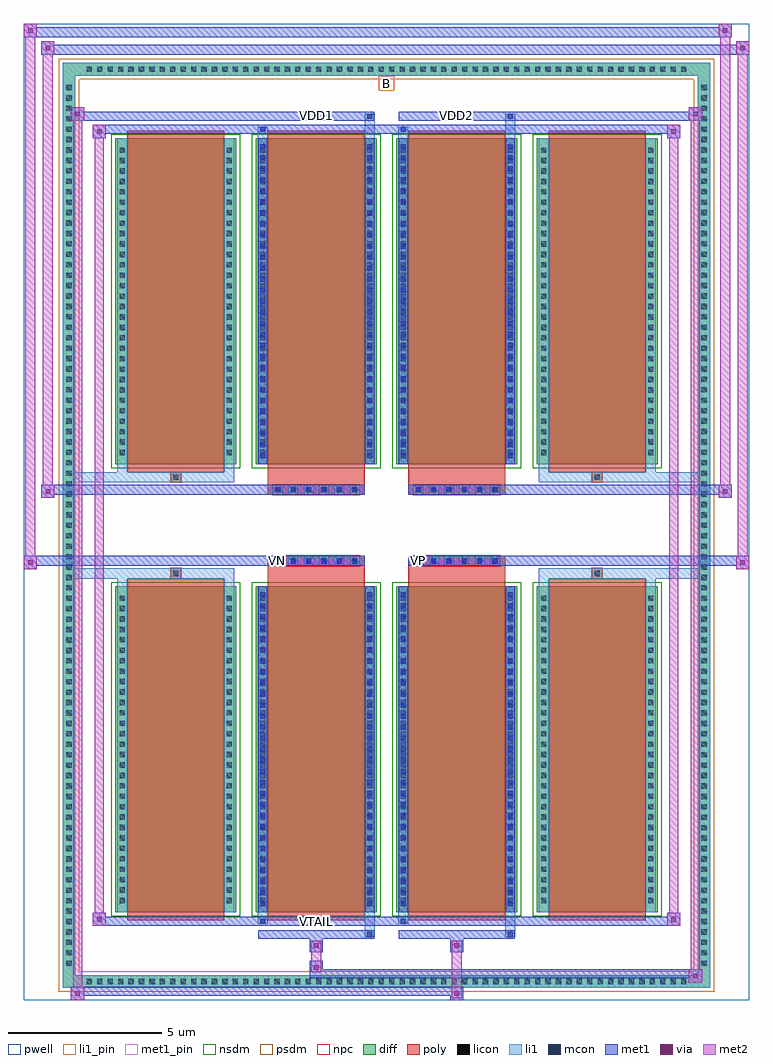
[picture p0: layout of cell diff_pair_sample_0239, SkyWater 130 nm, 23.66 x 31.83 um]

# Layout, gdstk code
import gdstk
lib = gdstk.Library(unit=1e-6, precision=5e-09)
def R(c, l, rs):  # rectangles x0, y0, x1, y1
    for r in rs: c.add(gdstk.rectangle(r[:2], r[2:], *l))
def A(c, l, x, y, w, h, nx, ny, dx, dy):  # array of equal rectangles
    R(c, l, [(x+i*dx, y+j*dy, x+i*dx+w, y+j*dy+h) for i in range(nx) for j in range(ny)])
def P(c, l, *ps):  # polygons
    for p in ps: c.add(gdstk.Polygon(p, *l))
pwell = (64, 44)
diff = (65, 20)
poly = (66, 20)
licon = (66, 44)
li1_pin = (67, 16)
li1 = (67, 20)
mcon = (67, 44)
met1_pin = (68, 16)
met1 = (68, 20)
via = (68, 44)
met2 = (69, 20)
nsdm = (93, 44)
psdm = (94, 20)
npc = (95, 20)

diff_pair_sample_0239 = lib.new_cell('diff_pair_sample_0239')
R(diff_pair_sample_0239, pwell, [(-11.83,-15.48,11.83,16.35), (-9.15,-13.67,-0.01,-0.795), (0.01,-13.67,9.15,-0.795), (-9.15,0.795,-0.01,13.67), (0.01,0.795,9.15,13.67)])
A(diff_pair_sample_0239, diff, -9.895, -15.08, 0.41, 0.41, 58, 2, 0.34, 29.75)
A(diff_pair_sample_0239, diff, -10.56, -14.485, 0.41, 0.41, 1, 85, 0, 0.34)
A(diff_pair_sample_0239, diff, 10.15, -14.485, 0.41, 0.41, 1, 85, 0, 0.34)
A(diff_pair_sample_0239, diff, -8.84, -12.625, 3.94, 10.64, 4, 2, 4.58, 14.61)
R(diff_pair_sample_0239, diff, [(-9.895,-15.08,9.895,-14.67), (-10.56,-14.485,-10.15,14.485), (10.15,-14.485,10.56,14.485), (-9.895,14.67,9.895,15.08)])
P(diff_pair_sample_0239, diff, [(10.56,15.08),(-10.56,15.08),(-10.56,-14.67),(-10.15,-14.67),(-10.15,14.67),(10.15,14.67),(10.15,-14.67),(-10.15,-14.67),(-10.56,-14.67),(-10.56,-15.08),(10.56,-15.08)])
A(diff_pair_sample_0239, poly, -8.45, -12.875, 3.16, 11.14, 4, 2, 4.58, 14.61)
A(diff_pair_sample_0239, poly, -3.705, -1.325, 0.33, 0.33, 6, 2, 0.5, 2.32)
A(diff_pair_sample_0239, poly, 0.875, -1.325, 0.33, 0.33, 6, 2, 0.5, 2.32)
R(diff_pair_sample_0239, poly, [(-7.035,-1.735,-6.705,-1.405), (-7.035,-1.735,-6.705,-1.405), (-3.87,-1.735,-0.71,-1.325), (0.71,-1.735,3.87,-1.325), (6.705,-1.735,7.035,-1.405), (6.705,-1.735,7.035,-1.405), (-3.87,-1.325,-0.71,-0.995), (0.71,-1.325,3.87,-0.995), (-3.87,0.995,-0.71,1.325), (0.71,0.995,3.87,1.325), (-3.87,1.325,-0.71,1.735), (0.71,1.325,3.87,1.735), (-7.035,1.405,-6.705,1.735), (-7.035,1.405,-6.705,1.735), (6.705,1.405,7.035,1.735), (6.705,1.405,7.035,1.735)])
A(diff_pair_sample_0239, licon, -9.775, -14.96, 0.17, 0.17, 58, 2, 0.34, 29.75)
A(diff_pair_sample_0239, licon, -10.44, -14.365, 0.17, 0.17, 1, 85, 0, 0.34)
A(diff_pair_sample_0239, licon, 10.27, -14.365, 0.17, 0.17, 1, 85, 0, 0.34)
A(diff_pair_sample_0239, licon, -8.7, -12.32, 0.17, 0.17, 1, 30, 0, 0.34)
A(diff_pair_sample_0239, licon, -5.21, -12.32, 0.17, 0.17, 1, 30, 0, 0.34)
A(diff_pair_sample_0239, licon, -4.12, -12.32, 0.17, 0.17, 1, 30, 0, 0.34)
A(diff_pair_sample_0239, licon, -0.63, -12.32, 0.17, 0.17, 1, 30, 0, 0.34)
A(diff_pair_sample_0239, licon, 0.46, -12.32, 0.17, 0.17, 1, 30, 0, 0.34)
A(diff_pair_sample_0239, licon, 3.95, -12.32, 0.17, 0.17, 1, 30, 0, 0.34)
A(diff_pair_sample_0239, licon, 5.04, -12.32, 0.17, 0.17, 1, 30, 0, 0.34)
A(diff_pair_sample_0239, licon, 8.53, -12.32, 0.17, 0.17, 1, 30, 0, 0.34)
A(diff_pair_sample_0239, licon, -3.625, -1.245, 0.17, 0.17, 6, 2, 0.5, 2.32)
A(diff_pair_sample_0239, licon, 0.955, -1.245, 0.17, 0.17, 6, 2, 0.5, 2.32)
A(diff_pair_sample_0239, licon, -8.7, 2.29, 0.17, 0.17, 1, 30, 0, 0.34)
A(diff_pair_sample_0239, licon, -5.21, 2.29, 0.17, 0.17, 1, 30, 0, 0.34)
A(diff_pair_sample_0239, licon, -4.12, 2.29, 0.17, 0.17, 1, 30, 0, 0.34)
A(diff_pair_sample_0239, licon, -0.63, 2.29, 0.17, 0.17, 1, 30, 0, 0.34)
A(diff_pair_sample_0239, licon, 0.46, 2.29, 0.17, 0.17, 1, 30, 0, 0.34)
A(diff_pair_sample_0239, licon, 3.95, 2.29, 0.17, 0.17, 1, 30, 0, 0.34)
A(diff_pair_sample_0239, licon, 5.04, 2.29, 0.17, 0.17, 1, 30, 0, 0.34)
A(diff_pair_sample_0239, licon, 8.53, 2.29, 0.17, 0.17, 1, 30, 0, 0.34)
R(diff_pair_sample_0239, licon, [(-6.955,-1.655,-6.785,-1.485), (6.785,-1.655,6.955,-1.485), (-6.955,1.485,-6.785,1.655), (6.785,1.485,6.955,1.655)])
R(diff_pair_sample_0239, li1_pin, [(-0.25,14.17,0.25,14.67)])
A(diff_pair_sample_0239, li1, -9.855, -15.04, 0.33, 0.33, 58, 2, 0.34, 29.75)
A(diff_pair_sample_0239, li1, -10.52, -14.445, 0.33, 0.33, 1, 85, 0, 0.34)
A(diff_pair_sample_0239, li1, 10.19, -14.445, 0.33, 0.33, 1, 85, 0, 0.34)
A(diff_pair_sample_0239, li1, -4.12, -12.43, 0.17, 0.17, 1, 29, 0, 0.36)
A(diff_pair_sample_0239, li1, -0.63, -12.43, 0.17, 0.17, 1, 29, 0, 0.36)
A(diff_pair_sample_0239, li1, 0.46, -12.43, 0.17, 0.17, 1, 29, 0, 0.36)
A(diff_pair_sample_0239, li1, 3.95, -12.43, 0.17, 0.17, 1, 29, 0, 0.36)
A(diff_pair_sample_0239, li1, -8.78, -12.4, 0.33, 0.33, 1, 30, 0, 0.34)
A(diff_pair_sample_0239, li1, -5.29, -12.4, 0.33, 0.33, 1, 30, 0, 0.34)
A(diff_pair_sample_0239, li1, -4.2, -12.4, 0.33, 0.33, 1, 30, 0, 0.34)
A(diff_pair_sample_0239, li1, -0.71, -12.4, 0.33, 0.33, 1, 30, 0, 0.34)
A(diff_pair_sample_0239, li1, 0.38, -12.4, 0.33, 0.33, 1, 30, 0, 0.34)
A(diff_pair_sample_0239, li1, 3.87, -12.4, 0.33, 0.33, 1, 30, 0, 0.34)
A(diff_pair_sample_0239, li1, 4.96, -12.4, 0.33, 0.33, 1, 30, 0, 0.34)
A(diff_pair_sample_0239, li1, 8.45, -12.4, 0.33, 0.33, 1, 30, 0, 0.34)
A(diff_pair_sample_0239, li1, -3.705, -1.325, 0.33, 0.33, 6, 2, 0.5, 2.32)
A(diff_pair_sample_0239, li1, 0.875, -1.325, 0.33, 0.33, 6, 2, 0.5, 2.32)
A(diff_pair_sample_0239, li1, -4.12, 2.18, 0.17, 0.17, 1, 29, 0, 0.36)
A(diff_pair_sample_0239, li1, -0.63, 2.18, 0.17, 0.17, 1, 29, 0, 0.36)
A(diff_pair_sample_0239, li1, 0.46, 2.18, 0.17, 0.17, 1, 29, 0, 0.36)
A(diff_pair_sample_0239, li1, 3.95, 2.18, 0.17, 0.17, 1, 29, 0, 0.36)
A(diff_pair_sample_0239, li1, -8.78, 2.21, 0.33, 0.33, 1, 30, 0, 0.34)
A(diff_pair_sample_0239, li1, -5.29, 2.21, 0.33, 0.33, 1, 30, 0, 0.34)
A(diff_pair_sample_0239, li1, -4.2, 2.21, 0.33, 0.33, 1, 30, 0, 0.34)
A(diff_pair_sample_0239, li1, -0.71, 2.21, 0.33, 0.33, 1, 30, 0, 0.34)
A(diff_pair_sample_0239, li1, 0.38, 2.21, 0.33, 0.33, 1, 30, 0, 0.34)
A(diff_pair_sample_0239, li1, 3.87, 2.21, 0.33, 0.33, 1, 30, 0, 0.34)
A(diff_pair_sample_0239, li1, 4.96, 2.21, 0.33, 0.33, 1, 30, 0, 0.34)
A(diff_pair_sample_0239, li1, 8.45, 2.21, 0.33, 0.33, 1, 30, 0, 0.34)
R(diff_pair_sample_0239, li1, [(-10.56,-15.08,-10.15,-14.67), (-10.56,-15.08,-10.15,-14.67), (-10.15,-15.08,10.15,-14.67), (10.15,-15.08,10.56,-14.67), (10.15,-15.08,10.56,-14.67), (-10.56,-14.67,-10.15,14.67), (10.15,-14.67,10.56,14.67), (-0.71,-13.43,-0.38,-12.625), (-0.63,-13.43,-0.46,-13.26), (3.87,-13.43,4.2,-12.625), (3.95,-13.43,4.12,-13.26), (-4.2,-13,-3.87,-12.625), (-4.12,-13,-3.95,-12.83), (0.38,-13,0.71,-12.625), (0.46,-13,0.63,-12.83), (-8.78,-12.625,-8.45,-1.985), (-5.29,-12.625,-4.96,-1.985), (-4.2,-12.625,-3.87,-1.985), (-0.71,-12.625,-0.38,-1.985), (0.38,-12.625,0.71,-1.985), (3.87,-12.625,4.2,-1.985), (4.96,-12.625,5.29,-1.985), (8.45,-12.625,8.78,-1.985), (-4.12,-12.43,-3.95,-2.18), (-0.63,-12.43,-0.46,-2.18), (0.46,-12.43,0.63,-2.18), (3.95,-12.43,4.12,-2.18), (-8.78,-1.985,-8.45,-1.405), (-5.29,-1.985,-4.96,-1.405), (4.96,-1.985,5.29,-1.405), (8.45,-1.985,8.78,-1.405), (-10.56,-1.735,-7.035,-1.405), (-8.78,-1.735,-7.035,-1.405), (-7.035,-1.735,-6.705,-1.405), (-6.705,-1.735,-4.96,-1.405), (4.96,-1.735,6.705,-1.405), (6.705,-1.735,7.035,-1.405), (6.705,-1.735,10.56,-1.405), (7.035,-1.735,8.78,-1.405), (-10.56,1.405,-7.035,1.735), (-8.78,1.405,-7.035,1.735), (-8.78,1.405,-8.45,1.985), (-7.035,1.405,-6.705,1.735), (-6.705,1.405,-4.96,1.735), (-5.29,1.405,-4.96,1.985), (4.96,1.405,6.705,1.735), (4.96,1.405,5.29,1.985), (6.705,1.405,7.035,1.735), (6.705,1.405,10.56,1.735), (7.035,1.405,8.78,1.735), (8.45,1.405,8.78,1.985), (-8.78,1.985,-8.45,12.625), (-5.29,1.985,-4.96,12.625), (-4.2,1.985,-3.87,12.625), (-0.71,1.985,-0.38,12.625), (0.38,1.985,0.71,12.625), (3.87,1.985,4.2,12.625), (4.96,1.985,5.29,12.625), (8.45,1.985,8.78,12.625), (-4.12,2.18,-3.95,12.43), (-0.63,2.18,-0.46,12.43), (0.46,2.18,0.63,12.43), (3.95,2.18,4.12,12.43), (-4.2,12.625,-3.87,13), (-0.71,12.625,-0.38,13.43), (0.38,12.625,0.71,13), (3.87,12.625,4.2,13.43), (-4.12,12.83,-3.95,13), (0.46,12.83,0.63,13), (-0.63,13.26,-0.46,13.43), (3.95,13.26,4.12,13.43), (-10.56,14.67,-10.15,15.08), (-10.56,14.67,-10.15,15.08), (-10.15,14.67,10.15,15.08), (10.15,14.67,10.56,15.08), (10.15,14.67,10.56,15.08)])
A(diff_pair_sample_0239, mcon, -4.12, -12.43, 0.17, 0.17, 1, 29, 0, 0.36)
A(diff_pair_sample_0239, mcon, -0.63, -12.43, 0.17, 0.17, 1, 29, 0, 0.36)
A(diff_pair_sample_0239, mcon, 0.46, -12.43, 0.17, 0.17, 1, 29, 0, 0.36)
A(diff_pair_sample_0239, mcon, 3.95, -12.43, 0.17, 0.17, 1, 29, 0, 0.36)
A(diff_pair_sample_0239, mcon, -3.625, -1.245, 0.17, 0.17, 6, 2, 0.5, 2.32)
A(diff_pair_sample_0239, mcon, 0.955, -1.245, 0.17, 0.17, 6, 2, 0.5, 2.32)
A(diff_pair_sample_0239, mcon, -4.12, 2.18, 0.17, 0.17, 1, 29, 0, 0.36)
A(diff_pair_sample_0239, mcon, -0.63, 2.18, 0.17, 0.17, 1, 29, 0, 0.36)
A(diff_pair_sample_0239, mcon, 0.46, 2.18, 0.17, 0.17, 1, 29, 0, 0.36)
A(diff_pair_sample_0239, mcon, 3.95, 2.18, 0.17, 0.17, 1, 29, 0, 0.36)
R(diff_pair_sample_0239, mcon, [(-0.63,-13.43,-0.46,-13.26), (3.95,-13.43,4.12,-13.26), (-4.12,-13,-3.95,-12.83), (0.46,-13,0.63,-12.83), (-4.12,12.83,-3.95,13), (0.46,12.83,0.63,13), (-0.63,13.26,-0.46,13.43), (3.95,13.26,4.12,13.43)])
R(diff_pair_sample_0239, met1_pin, [(-2.425,-13.04,-2.155,-12.77), (-3.675,-1.285,-3.405,-1.015), (0.905,-1.285,1.175,-1.015), (-2.425,13.22,-2.155,13.49), (2.155,13.22,2.425,13.49)])
A(diff_pair_sample_0239, met1, -4.18, -12.49, 0.29, 0.29, 1, 29, 0, 0.36)
A(diff_pair_sample_0239, met1, -0.69, -12.49, 0.29, 0.29, 1, 29, 0, 0.36)
A(diff_pair_sample_0239, met1, 0.4, -12.49, 0.29, 0.29, 1, 29, 0, 0.36)
A(diff_pair_sample_0239, met1, 3.89, -12.49, 0.29, 0.29, 1, 29, 0, 0.36)
A(diff_pair_sample_0239, met1, -3.685, -1.305, 0.29, 0.29, 6, 2, 0.5, 2.32)
A(diff_pair_sample_0239, met1, 0.895, -1.305, 0.29, 0.29, 6, 2, 0.5, 2.32)
A(diff_pair_sample_0239, met1, -4.18, 2.12, 0.29, 0.29, 1, 29, 0, 0.36)
A(diff_pair_sample_0239, met1, -0.69, 2.12, 0.29, 0.29, 1, 29, 0, 0.36)
A(diff_pair_sample_0239, met1, 0.4, 2.12, 0.29, 0.29, 1, 29, 0, 0.36)
A(diff_pair_sample_0239, met1, 3.89, 2.12, 0.29, 0.29, 1, 29, 0, 0.36)
R(diff_pair_sample_0239, met1, [(-10.29,-15.48,-9.86,-15.05), (2.075,-15.48,2.505,-15.05), (-10.29,-15.34,2.505,-15.05), (9.86,-14.91,10.29,-14.48), (-2.505,-14.77,10.29,-14.48), (-2.505,-14.63,-2.075,-14.2), (-2.505,-13.92,-2.075,-13.49), (2.075,-13.92,2.505,-13.49), (-4.18,-13.49,-0.4,-13.2), (-0.69,-13.49,-0.4,-13.2), (0.4,-13.49,4.18,-13.2), (3.89,-13.49,4.18,-13.2), (-9.58,-13.06,-9.15,-12.63), (-9.58,-13.06,-4.18,-12.77), (-4.18,-13.06,-3.89,-12.77), (-4.18,-13.06,-0.4,-12.77), (-0.4,-13.06,0.4,-12.77), (0.4,-13.06,0.69,-12.77), (0.4,-13.06,4.18,-12.77), (4.18,-13.06,9.58,-12.77), (9.15,-13.06,9.58,-12.63), (-4.18,-12.625,-3.89,-1.985), (-0.69,-12.625,-0.4,-1.985), (0.4,-12.625,0.69,-1.985), (3.89,-12.625,4.18,-1.985), (-11.83,-1.425,-11.4,-0.995), (11.4,-1.425,11.83,-0.995), (-11.83,-1.325,-0.71,-0.995), (-3.87,-1.325,-0.71,-0.995), (0.71,-1.325,3.87,-0.995), (0.71,-1.325,11.83,-0.995), (-11.26,0.895,-10.83,1.325), (10.83,0.895,11.26,1.325), (-11.26,0.995,-3.87,1.325), (-3.87,0.995,-0.71,1.325), (0.71,0.995,3.87,1.325), (3.87,0.995,11.26,1.325), (-4.18,1.985,-3.89,12.625), (-0.69,1.985,-0.4,12.625), (0.4,1.985,0.69,12.625), (3.89,1.985,4.18,12.625), (-9.58,12.63,-9.15,13.06), (9.15,12.63,9.58,13.06), (-9.58,12.77,-4.18,13.06), (-4.18,12.77,-3.89,13.06), (-4.18,12.77,-0.4,13.06), (-0.4,12.77,0.4,13.06), (0.4,12.77,0.69,13.06), (0.4,12.77,4.18,13.06), (4.18,12.77,9.58,13.06), (-10.29,13.2,-9.86,13.63), (-10.29,13.2,-4.18,13.49), (-4.18,13.2,-0.4,13.49), (-0.69,13.2,-0.4,13.49), (0.4,13.2,4.18,13.49), (3.89,13.2,4.18,13.49), (4.18,13.2,10.29,13.49), (9.86,13.2,10.29,13.63), (-11.26,15.35,-10.83,15.78), (-11.26,15.35,-9.15,15.68), (-9.15,15.35,9.15,15.68), (9.15,15.35,11.83,15.68), (11.4,15.35,11.83,15.78), (-11.83,15.92,-11.4,16.35), (-11.83,15.92,-9.15,16.25), (-9.15,15.92,9.15,16.25), (9.15,15.92,11.26,16.25), (10.83,15.92,11.26,16.35)])
R(diff_pair_sample_0239, via, [(-10.15,-15.34,-10,-15.19), (2.215,-15.34,2.365,-15.19), (10,-14.77,10.15,-14.62), (-2.365,-14.49,-2.215,-14.34), (-2.365,-13.78,-2.215,-13.63), (2.215,-13.78,2.365,-13.63), (-9.44,-12.92,-9.29,-12.77), (9.29,-12.92,9.44,-12.77), (-11.69,-1.285,-11.54,-1.135), (11.54,-1.285,11.69,-1.135), (-11.12,1.035,-10.97,1.185), (10.97,1.035,11.12,1.185), (-9.44,12.77,-9.29,12.92), (9.29,12.77,9.44,12.92), (-10.15,13.34,-10,13.49), (10,13.34,10.15,13.49), (-11.12,15.49,-10.97,15.64), (11.54,15.49,11.69,15.64), (-11.69,16.06,-11.54,16.21), (10.97,16.06,11.12,16.21)])
R(diff_pair_sample_0239, met2, [(-10.29,-15.48,-9.86,-15.05), (-10.22,-15.48,-9.93,13.63), (-9.93,-15.48,-9.86,-15.05), (-10.24,-15.43,-9.91,-15.1), (2.125,-15.43,2.455,-15.1), (2.125,-15.1,2.455,-13.87), (9.86,-14.91,10.29,-14.48), (9.93,-14.91,10.22,13.63), (10.22,-14.91,10.29,-14.48), (9.91,-14.86,10.24,-14.53), (-2.455,-14.58,-2.125,-14.25), (-2.455,-14.25,-2.125,-13.87), (-2.455,-13.87,-2.125,-13.54), (2.125,-13.87,2.455,-13.54), (-9.58,-13.06,-9.15,-12.63), (-9.51,-13.06,-9.22,13.06), (-9.22,-13.06,-9.15,-12.63), (9.15,-13.06,9.58,-12.63), (9.22,-13.06,9.51,13.06), (9.51,-13.06,9.58,-12.63), (-9.53,-13.01,-9.2,-12.68), (9.2,-13.01,9.53,-12.68), (-11.83,-1.425,-11.4,-0.995), (-11.78,-1.425,-11.45,16.35), (-11.45,-1.425,-11.4,-0.995), (11.4,-1.425,11.83,-0.995), (11.45,-1.425,11.78,15.78), (11.78,-1.425,11.83,-0.995), (-11.78,-1.375,-11.45,-1.045), (11.45,-1.375,11.78,-1.045), (-11.26,0.895,-10.83,1.325), (-11.21,0.895,-10.88,15.78), (-10.88,0.895,-10.83,1.325), (10.83,0.895,11.26,1.325), (10.88,0.895,11.21,16.35), (11.21,0.895,11.26,1.325), (-11.21,0.945,-10.88,1.275), (10.88,0.945,11.21,1.275), (-9.58,12.63,-9.15,13.06), (-9.22,12.63,-9.15,13.06), (9.15,12.63,9.58,13.06), (9.51,12.63,9.58,13.06), (-9.53,12.68,-9.2,13.01), (9.2,12.68,9.53,13.01), (-10.29,13.2,-9.86,13.63), (-9.93,13.2,-9.86,13.63), (9.86,13.2,10.29,13.63), (10.22,13.2,10.29,13.63), (-10.24,13.25,-9.91,13.58), (9.91,13.25,10.24,13.58), (-11.26,15.35,-10.83,15.78), (-10.88,15.35,-10.83,15.78), (11.4,15.35,11.83,15.78), (11.78,15.35,11.83,15.78), (-11.21,15.4,-10.88,15.73), (11.45,15.4,11.78,15.73), (-11.83,15.92,-11.4,16.35), (-11.45,15.92,-11.4,16.35), (10.83,15.92,11.26,16.35), (11.21,15.92,11.26,16.35), (-11.78,15.97,-11.45,16.3), (10.88,15.97,11.21,16.3)])
A(diff_pair_sample_0239, nsdm, -8.97, -12.755, 4.2, 10.9, 4, 2, 4.58, 14.61)
P(diff_pair_sample_0239, psdm, [(10.69,15.21),(-10.69,15.21),(-10.69,-14.54),(-10.02,-14.54),(-10.02,14.54),(10.02,14.54),(10.02,-14.54),(-10.02,-14.54),(-10.69,-14.54),(-10.69,-15.21),(10.69,-15.21)])
A(diff_pair_sample_0239, npc, -3.725, -1.345, 0.37, 0.37, 6, 2, 0.5, 2.32)
A(diff_pair_sample_0239, npc, 0.855, -1.345, 0.37, 0.37, 6, 2, 0.5, 2.32)
R(diff_pair_sample_0239, npc, [(-7.055,-1.755,-6.685,-1.385), (6.685,-1.755,7.055,-1.385), (-3.725,-1.345,-2.855,-0.975), (-3.725,-1.345,-2.855,-0.975), (-3.225,-1.345,-2.355,-0.975), (-3.225,-1.345,-2.355,-0.975), (-2.725,-1.345,-1.855,-0.975), (-2.725,-1.345,-1.855,-0.975), (-2.225,-1.345,-1.355,-0.975), (-2.225,-1.345,-1.355,-0.975), (-1.725,-1.345,-0.855,-0.975), (-1.725,-1.345,-0.855,-0.975), (0.855,-1.345,1.725,-0.975), (0.855,-1.345,1.725,-0.975), (1.355,-1.345,2.225,-0.975), (1.355,-1.345,2.225,-0.975), (1.855,-1.345,2.725,-0.975), (1.855,-1.345,2.725,-0.975), (2.355,-1.345,3.225,-0.975), (2.355,-1.345,3.225,-0.975), (2.855,-1.345,3.725,-0.975), (2.855,-1.345,3.725,-0.975), (-3.725,0.975,-2.855,1.345), (-3.725,0.975,-2.855,1.345), (-3.225,0.975,-2.355,1.345), (-3.225,0.975,-2.355,1.345), (-2.725,0.975,-1.855,1.345), (-2.725,0.975,-1.855,1.345), (-2.225,0.975,-1.355,1.345), (-2.225,0.975,-1.355,1.345), (-1.725,0.975,-0.855,1.345), (-1.725,0.975,-0.855,1.345), (0.855,0.975,1.725,1.345), (0.855,0.975,1.725,1.345), (1.355,0.975,2.225,1.345), (1.355,0.975,2.225,1.345), (1.855,0.975,2.725,1.345), (1.855,0.975,2.725,1.345), (2.355,0.975,3.225,1.345), (2.355,0.975,3.225,1.345), (2.855,0.975,3.725,1.345), (2.855,0.975,3.725,1.345), (-7.055,1.385,-6.685,1.755), (6.685,1.385,7.055,1.755)])
diff_pair_sample_0239.add(gdstk.Label('VTAIL', (-2.29,-12.905), layer=68, texttype=5))
diff_pair_sample_0239.add(gdstk.Label('VN', (-3.54,-1.15), layer=68, texttype=5))
diff_pair_sample_0239.add(gdstk.Label('VP', (1.04,-1.15), layer=68, texttype=5))
diff_pair_sample_0239.add(gdstk.Label('B', (0,14.42), layer=67, texttype=5))
diff_pair_sample_0239.add(gdstk.Label('VDD2', (2.29,13.355), layer=68, texttype=5))
diff_pair_sample_0239.add(gdstk.Label('VDD1', (-2.29,13.355), layer=68, texttype=5))

lib.write_gds('diff_pair_sample_0239.gds')
